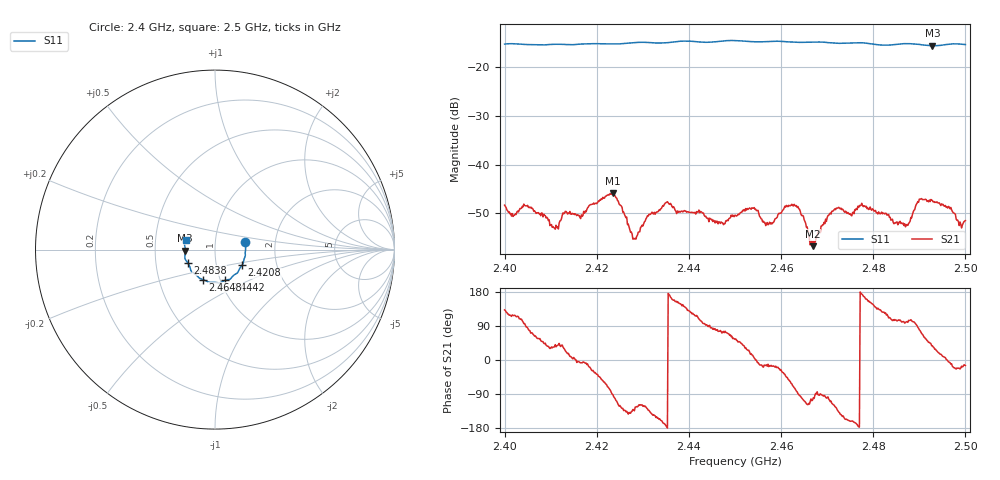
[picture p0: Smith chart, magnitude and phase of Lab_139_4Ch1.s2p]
# Hz S RI R 50
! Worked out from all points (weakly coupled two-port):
!   601 points, 2.4 GHz to 2.5 GHz, reference 50 ohm
!   highest |S21| = -45.89 dB at 2.4235 GHz (marker M1); lowest = -56.8 dB at 2.4668 GHz (marker M2)
!   lowest |S11| = -15.6 dB at 2.4928 GHz (marker M3), VSWR 1.40, Z = 35.8 - j0.378 ohm
!   |S11| at or under -10 dB: start of sweep to end of sweep
!   S12 and S22 are empty: the file has one direction only
!   S11 on the Smith chart (normalised r, x): 2.4 GHz: 1.40, +0.12; 2.4208 GHz: 1.33, -0.24; 2.4442 GHz: 1.05, -0.37; 2.4648 GHz: 0.83, -0.29; 2.4838 GHz: 0.73, -0.11; 2.5 GHz: 0.72, +0.08
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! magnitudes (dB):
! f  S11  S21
! 2.4 GHz  -15.2  -48.3
! 2.4112 GHz  -15.3  -52.5
! 2.4167 GHz  -15.2  -50.3
! 2.4208 GHz  -15.2  -47.3
! 2.4235 GHz  -15.2  -45.9
! 2.4282 GHz  -15.0  -55.3
! 2.4333 GHz  -15.0  -49.6
! 2.4442 GHz  -14.9  -51.0
! 2.45 GHz  -14.5  -50.4
! 2.454 GHz  -14.8  -48.9
! 2.4577 GHz  -14.7  -52.2
! 2.4625 GHz  -14.8  -48.4
! 2.4648 GHz  -14.9  -50.6
! 2.4667 GHz  -14.8  -55.8
! 2.4668 GHz  -14.8  -56.8
! 2.472 GHz  -15.1  -48.9
! 2.4833 GHz  -15.5  -50.2
! 2.4838 GHz  -15.4  -51.4
! 2.4872 GHz  -15.2  -52.4
! 2.49 GHz  -15.3  -47.1
! 2.4928 GHz  -15.6  -47.4
! 2.5 GHz  -15.3  -51.5
